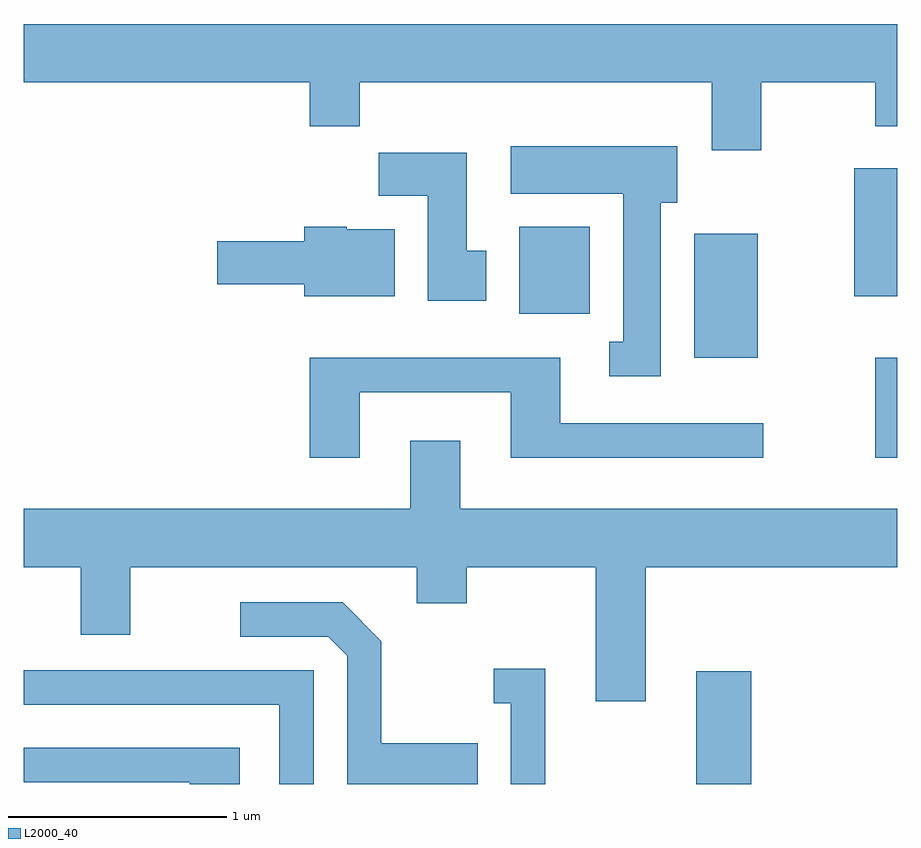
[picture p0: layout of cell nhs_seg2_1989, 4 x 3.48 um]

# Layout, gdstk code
import gdstk
lib = gdstk.Library(unit=1e-6, precision=1e-09)
def R(c, l, rs):  # rectangles x0, y0, x1, y1
    for r in rs: c.add(gdstk.rectangle(r[:2], r[2:], *l))
def P(c, l, *ps):  # polygons
    for p in ps: c.add(gdstk.Polygon(p, *l))
L2000_40 = (2000, 40)

nhs_seg2_1989 = lib.new_cell('nhs_seg2_1989')
R(nhs_seg2_1989, L2000_40, [(246.691,1011.802,246.944,1012.319), (247.511,1013.296,247.611,1013.754), (246.681,1013.756,246.974,1014.324), (245.881,1013.956,246.204,1014.354), (247.416,1014.036,247.611,1014.624)])
P(nhs_seg2_1989, L2000_40, [(246.989,1015.016),(247.511,1015.016),(247.511,1014.816),(247.611,1014.816),(247.611,1015.284),(243.611,1015.284),(243.611,1015.016),(244.921,1015.016),(244.921,1014.816),(245.149,1014.816),(245.149,1015.016),(246.761,1015.016),(246.761,1014.706),(246.989,1014.706)],
  [(246.529,1014.466),(246.604,1014.466),(246.604,1014.724),(245.841,1014.724),(245.841,1014.506),(246.356,1014.506),(246.356,1013.829),(246.293,1013.829),(246.293,1013.671),(246.529,1013.671)],
  [(245.729,1014.244),(245.639,1014.244),(245.639,1014.694),(245.236,1014.694),(245.236,1014.496),(245.461,1014.496),(245.461,1014.016),(245.729,1014.016)],
  [(245.309,1014.344),(245.09,1014.344),(245.09,1014.354),(244.896,1014.354),(244.896,1014.289),(244.496,1014.289),(244.496,1014.091),(244.896,1014.091),(244.896,1014.036),(245.309,1014.036)],
  [(245.149,1013.596),(245.841,1013.596),(245.841,1013.296),(246.998,1013.296),(246.998,1013.454),(246.069,1013.454),(246.069,1013.754),(244.921,1013.754),(244.921,1013.296),(245.149,1013.296)],
  [(245.381,1013.374),(245.381,1013.064),(243.611,1013.064),(243.611,1012.796),(243.871,1012.796),(243.871,1012.486),(244.099,1012.486),(244.099,1012.796),(245.411,1012.796),(245.411,1012.631),(245.639,1012.631),(245.639,1012.796),(246.231,1012.796),(246.231,1012.181),(246.459,1012.181),(246.459,1012.796),(247.611,1012.796),(247.611,1013.064),(245.609,1013.064),(245.609,1013.374)],
  [(245.689,1011.989),(245.249,1011.989),(245.249,1012.457),(245.072,1012.634),(244.603,1012.634),(244.603,1012.476),(245.004,1012.476),(245.091,1012.389),(245.091,1011.802),(245.689,1011.802)],
  [(245.999,1012.329),(245.763,1012.329),(245.763,1012.171),(245.841,1012.171),(245.841,1011.802),(245.999,1011.802)],
  [(244.939,1012.324),(243.611,1012.324),(243.611,1012.166),(244.781,1012.166),(244.781,1011.802),(244.939,1011.802)],
  [(244.599,1011.969),(243.611,1011.969),(243.611,1011.811),(244.371,1011.811),(244.371,1011.802),(244.599,1011.802)])

lib.write_gds('nhs_seg2_1989.gds')
